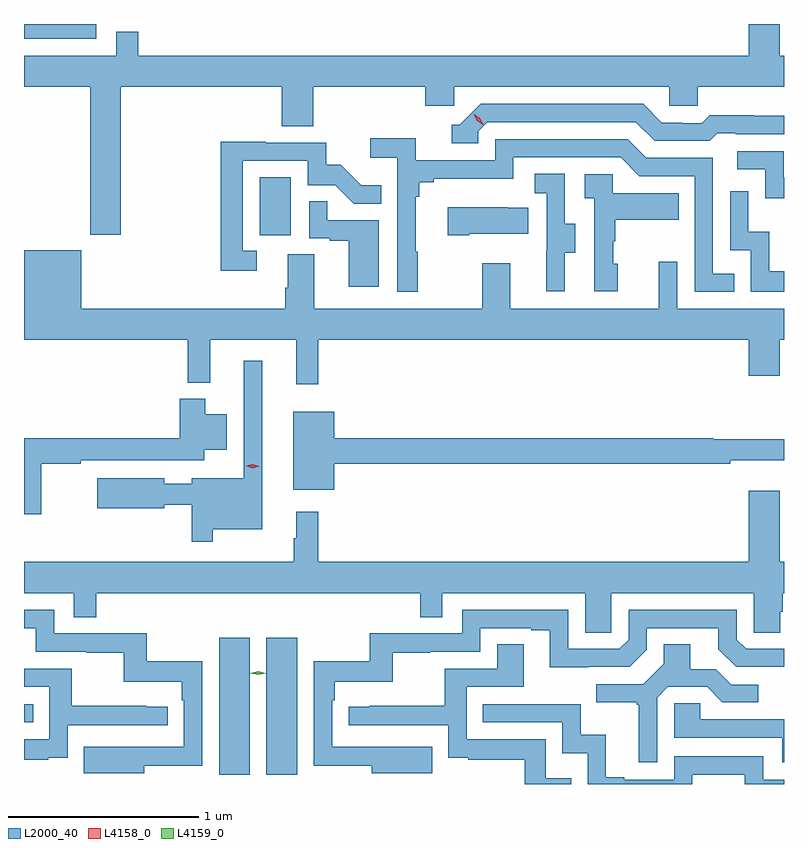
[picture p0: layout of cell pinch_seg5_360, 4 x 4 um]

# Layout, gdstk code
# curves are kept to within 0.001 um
import gdstk
lib = gdstk.Library(unit=1e-6, precision=1e-09)
def R(c, l, rs):  # rectangles x0, y0, x1, y1
    for r in rs: c.add(gdstk.rectangle(r[:2], r[2:], *l))
def P(c, l, *ps):  # polygons
    for p in ps: c.add(gdstk.Polygon(p, *l))
L2000_40 = (2000, 40)
L4158_0 = (4158, 0)
L4159_0 = (4159, 0)

pinch_seg5_360 = lib.new_cell('pinch_seg5_360')
R(pinch_seg5_360, L2000_40, [(1001.381,891.768,1001.542,892.489), (1001.63,891.768,1001.791,892.489), (1000.354,892.044,1000.403,892.14), (1001.594,894.606,1001.758,894.913), (1000.354,895.641,1000.734,895.719)])
P(pinch_seg5_360, L2000_40, [(1000.862,895.388),(1001.711,895.388),(1001.711,895.18),(1001.876,895.18),(1001.876,895.388),(1002.467,895.388),(1002.467,895.29),(1002.618,895.29),(1002.618,895.388),(1003.749,895.388),(1003.749,895.29),(1003.899,895.29),(1003.899,895.388),(1004.354,895.388),(1004.354,895.552),(1004.332,895.552),(1004.332,895.719),(1004.168,895.719),(1004.168,895.552),(1000.955,895.552),(1000.955,895.679),(1000.839,895.679),(1000.839,895.552),(1000.354,895.552),(1000.354,895.388),(1000.702,895.388),(1000.702,894.609),(1000.862,894.609)],
  [(1002.744,895.155),(1002.792,895.203),(1003.575,895.203),(1003.674,895.104),(1003.963,895.104),(1004.002,895.143),(1004.101,895.143),(1004.101,895.14),(1004.354,895.14),(1004.354,895.237),(1004.196,895.237),(1004.196,895.24),(1003.963,895.24),(1003.921,895.197),(1003.818,895.197),(1003.818,895.2),(1003.711,895.2),(1003.612,895.299),(1002.759,895.299),(1002.648,895.188),(1002.605,895.188),(1002.605,895.092),(1002.744,895.092)],
  [(1002.427,894.521),(1002.415,894.521),(1002.415,894.809),(1002.434,894.809),(1002.434,894.886),(1002.511,894.886),(1002.511,894.905),(1002.93,894.905),(1002.93,895.017),(1003.494,895.017),(1003.593,894.918),(1003.884,894.918),(1003.884,894.309),(1004.093,894.309),(1004.093,894.405),(1003.98,894.405),(1003.98,895.014),(1003.63,895.014),(1003.531,895.113),(1002.834,895.113),(1002.834,895.002),(1002.416,895.002),(1002.416,895.118),(1002.177,895.118),(1002.177,895.016),(1002.318,895.016),(1002.318,894.309),(1002.427,894.309)],
  [(1001.578,894.525),(1001.505,894.525),(1001.505,894.999),(1001.847,894.999),(1001.847,894.87),(1001.991,894.87),(1002.089,894.772),(1002.233,894.772),(1002.233,894.871),(1002.129,894.871),(1002.022,894.978),(1001.946,894.978),(1001.946,895.095),(1001.627,895.095),(1001.627,895.1),(1001.389,895.1),(1001.389,894.42),(1001.578,894.42)],
  [(1004.354,894.909),(1004.352,894.909),(1004.352,895.05),(1004.109,895.05),(1004.109,894.954),(1004.256,894.954),(1004.256,894.801),(1004.354,894.801)],
  [(1003.201,894.514),(1003.255,894.514),(1003.255,894.669),(1003.2,894.669),(1003.2,894.932),(1003.041,894.932),(1003.041,894.829),(1003.104,894.829),(1003.104,894.525),(1003.103,894.525),(1003.103,894.312),(1003.201,894.312)],
  [(1003.48,894.456),(1003.455,894.456),(1003.455,894.575),(1003.465,894.575),(1003.465,894.689),(1003.799,894.689),(1003.799,894.829),(1003.452,894.829),(1003.452,894.927),(1003.305,894.927),(1003.305,894.803),(1003.356,894.803),(1003.356,894.312),(1003.48,894.312)],
  [(1004.354,894.418),(1004.276,894.418),(1004.276,894.626),(1004.166,894.626),(1004.166,894.838),(1004.07,894.838),(1004.07,894.528),(1004.178,894.528),(1004.178,894.309),(1004.354,894.309)],
  [(1002.22,894.687),(1001.951,894.687),(1001.951,894.785),(1001.856,894.785),(1001.856,894.591),(1001.963,894.591),(1001.963,894.579),(1002.062,894.579),(1002.062,894.336),(1002.22,894.336)],
  [(1002.697,894.614),(1003.007,894.614),(1003.007,894.751),(1002.899,894.751),(1002.899,894.754),(1002.585,894.754),(1002.585,894.607),(1002.697,894.607)],
  [(1004.168,893.868),(1004.332,893.868),(1004.332,894.056),(1004.354,894.056),(1004.354,894.22),(1003.791,894.22),(1003.791,894.469),(1003.694,894.469),(1003.694,894.22),(1002.913,894.22),(1002.913,894.46),(1002.766,894.46),(1002.766,894.22),(1001.881,894.22),(1001.881,894.506),(1001.741,894.506),(1001.741,894.332),(1001.729,894.332),(1001.729,894.22),(1000.654,894.22),(1000.654,894.529),(1000.354,894.529),(1000.354,894.056),(1001.215,894.056),(1001.215,893.831),(1001.333,893.831),(1001.333,894.056),(1001.786,894.056),(1001.786,893.823),(1001.903,893.823),(1001.903,894.056),(1004.168,894.056)],
  [(1001.347,893.06),(1001.608,893.06),(1001.608,893.947),(1001.511,893.947),(1001.511,893.329),(1001.237,893.329),(1001.237,893.298),(1001.092,893.298),(1001.092,893.329),(1000.74,893.329),(1000.74,893.171),(1001.092,893.171),(1001.092,893.19),(1001.237,893.19),(1001.237,892.995),(1001.347,892.995)],
  [(1000.444,893.404),(1000.652,893.404),(1000.652,893.424),(1001.302,893.424),(1001.302,893.477),(1001.422,893.477),(1001.422,893.665),(1001.308,893.665),(1001.308,893.746),(1001.174,893.746),(1001.174,893.54),(1000.354,893.54),(1000.354,893.139),(1000.444,893.139)],
  [(1001.986,893.404),(1004.072,893.404),(1004.072,893.423),(1004.354,893.423),(1004.354,893.533),(1003.982,893.533),(1003.982,893.54),(1001.986,893.54),(1001.986,893.677),(1001.771,893.677),(1001.771,893.267),(1001.986,893.267)],
  [(1003.446,892.724),(1004.196,892.724),(1004.196,892.516),(1004.333,892.516),(1004.333,892.626),(1004.348,892.626),(1004.348,892.724),(1004.354,892.724),(1004.354,892.888),(1004.332,892.888),(1004.332,893.263),(1004.168,893.263),(1004.168,892.888),(1001.903,892.888),(1001.903,893.152),(1001.786,893.152),(1001.786,893.012),(1001.775,893.012),(1001.775,892.888),(1000.354,892.888),(1000.354,892.724),(1000.617,892.724),(1000.617,892.597),(1000.733,892.597),(1000.733,892.724),(1002.439,892.724),(1002.439,892.597),(1002.555,892.597),(1002.555,892.724),(1003.307,892.724),(1003.307,892.516),(1003.446,892.516)],
  [(1002.503,891.916),(1001.976,891.915),(1001.976,892.16),(1001.99,892.16),(1001.99,892.256),(1002.295,892.256),(1002.295,892.411),(1002.491,892.411),(1002.491,892.416),(1002.756,892.416),(1002.756,892.539),(1003.025,892.539),(1003.025,892.527),(1003.121,892.527),(1003.121,892.334),(1003.542,892.335),(1003.632,892.425),(1003.632,892.539),(1004.009,892.539),(1004.009,892.429),(1004.103,892.335),(1004.354,892.335),(1004.354,892.431),(1004.154,892.431),(1004.106,892.479),(1004.106,892.635),(1003.536,892.635),(1003.536,892.479),(1003.488,892.431),(1003.218,892.431),(1003.218,892.635),(1002.66,892.635),(1002.66,892.512),(1002.174,892.512),(1002.174,892.366),(1001.88,892.366),(1001.88,891.814),(1002.185,891.814),(1002.185,891.776),(1002.503,891.776)],
  [(1000.987,891.814),(1001.292,891.814),(1001.292,892.366),(1000.999,892.366),(1000.999,892.512),(1000.512,892.512),(1000.512,892.635),(1000.354,892.635),(1000.354,892.539),(1000.416,892.539),(1000.416,892.416),(1000.681,892.416),(1000.681,892.411),(1000.878,892.411),(1000.878,892.256),(1001.183,892.256),(1001.183,892.16),(1001.196,892.16),(1001.196,891.915),(1000.883,891.915),(1000.883,891.916),(1000.669,891.916),(1000.669,891.776),(1000.987,891.776)],
  [(1003.235,891.748),(1003.101,891.748),(1003.101,891.954),(1002.684,891.954),(1002.684,892.23),(1002.985,892.23),(1002.985,892.454),(1002.845,892.454),(1002.845,892.326),(1002.568,892.326),(1002.568,892.13),(1002.175,892.13),(1002.175,892.125),(1002.063,892.125),(1002.063,892.029),(1002.588,892.029),(1002.588,891.857),(1002.691,891.857),(1002.691,891.846),(1002.99,891.846),(1002.99,891.719),(1003.235,891.719)],
  [(1003.686,892.173),(1003.743,892.23),(1003.949,892.23),(1004.03,892.149),(1004.218,892.149),(1004.218,892.242),(1004.076,892.242),(1003.996,892.322),(1003.861,892.322),(1003.861,892.454),(1003.721,892.454),(1003.721,892.352),(1003.614,892.245),(1003.365,892.245),(1003.365,892.148),(1003.578,892.148),(1003.578,892.137),(1003.589,892.137),(1003.589,891.834),(1003.686,891.834)],
  [(1000.481,891.857),(1000.584,891.857),(1000.584,892.029),(1001.11,892.029),(1001.11,892.125),(1000.997,892.125),(1000.997,892.13),(1000.604,892.13),(1000.604,892.326),(1000.354,892.326),(1000.354,892.23),(1000.488,892.23),(1000.488,891.954),(1000.354,891.954),(1000.354,891.846),(1000.481,891.846)],
  [(1004.354,892.059),(1003.913,892.059),(1003.913,892.143),(1003.776,892.143),(1003.776,891.963),(1004.345,891.963),(1004.345,891.834),(1004.354,891.834)],
  [(1003.872,891.768),(1004.148,891.768),(1004.148,891.719),(1004.354,891.719),(1004.354,891.741),(1004.244,891.741),(1004.244,891.864),(1003.776,891.864),(1003.776,891.741),(1003.513,891.741),(1003.513,891.754),(1003.417,891.754),(1003.417,891.979),(1003.284,891.979),(1003.284,892.14),(1002.769,892.14),(1002.769,892.044),(1003.188,892.044),(1003.188,891.881),(1003.32,891.881),(1003.32,891.719),(1003.872,891.719)])
P(pinch_seg5_360, L4158_0, [(1002.769,895.19),(1002.739,895.21),(1002.722,895.243),(1002.722,895.243),(1002.723,895.243),(1002.753,895.223),(1002.77,895.191),(1002.77,895.19)],
  [(1001.557,893.382),(1001.522,893.394),(1001.521,893.394),(1001.522,893.394),(1001.557,893.402),(1001.592,893.391),(1001.593,893.391),(1001.592,893.391)])
P(pinch_seg5_360, L4159_0, [(1001.586,892.293),(1001.546,892.303),(1001.546,892.303),(1001.546,892.303),(1001.586,892.313),(1001.626,892.303),(1001.626,892.303),(1001.626,892.303)])

lib.write_gds('pinch_seg5_360.gds')
